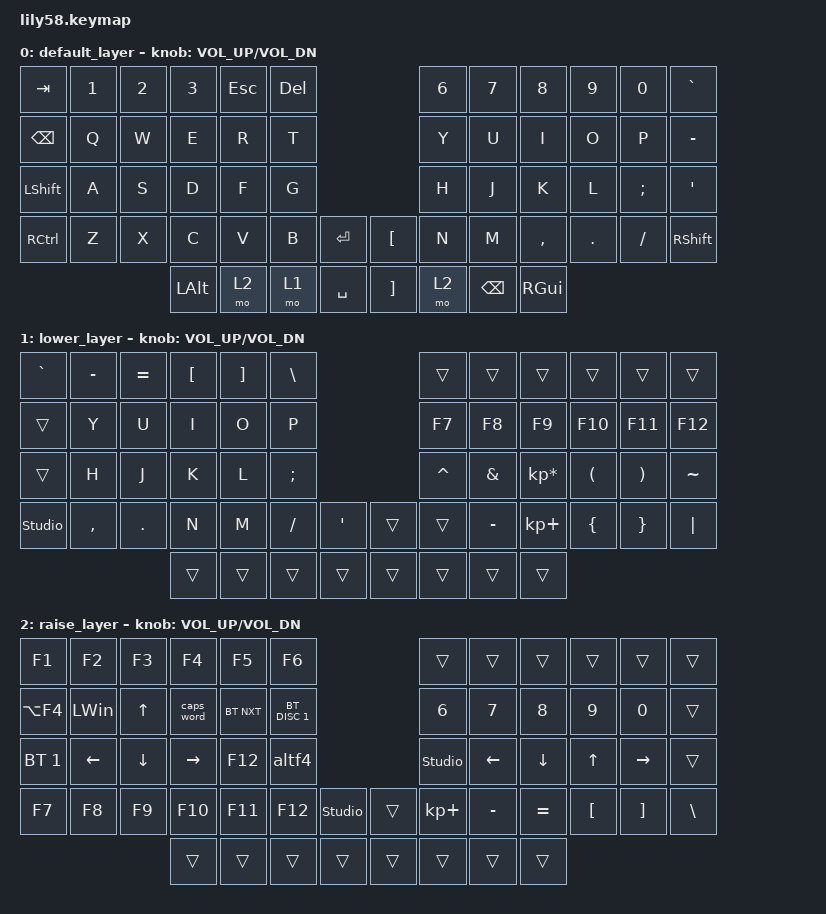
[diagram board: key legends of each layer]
/*
 * Copyright (c) 2020 The ZMK Contributors
 *
 * SPDX-License-Identifier: MIT
 */

#include <behaviors.dtsi>
#include <dt-bindings/zmk/bt.h>
#include <dt-bindings/zmk/keys.h>

/ {
    macros {
        altf4: test {
            compatible = "zmk,behavior-macro";
            #binding-cells = <0>;
            bindings = <&kp LA(F4)>;
            label = "TEST";
        };
    };

    keymap {
        compatible = "zmk,keymap";

        default_layer {
            // ------------------------------------------------------------------------------------------------------------
            // |  ESC  |  1  |  2  |  3   |  4   |  5   |                   |  6   |  7    |  8    |  9   |   0   |   `   |
            // |  TAB  |  Q  |  W  |  E   |  R   |  T   |                   |  Y   |  U    |  I    |  O   |   P   |   -   |
            // |  CTRL |  A  |  S  |  D   |  F   |  G   |                   |  H   |  J    |  K    |  L   |   ;   |   '   |
            // | SHIFT |  Z  |  X  |  C   |  V   |  B   |   "["  |  |  "]"  |  N   |  M    |  ,    |  .   |   /   | SHIFT |
            //                     | ALT  | GUI  | LOWER|  ENTER |  | SPACE | RAISE| BSPC  | GUI   |

            bindings = <
&kp TAB         &kp N1  &kp N2  &kp N3    &kp ESCAPE  &kp DEL                                  &kp N6  &kp N7    &kp N8     &kp N9   &kp N0    &kp GRAVE
&kp BACKSPACE   &kp Q   &kp W   &kp E     &kp R       &kp T                                    &kp Y   &kp U     &kp I      &kp O    &kp P     &kp MINUS
&kp LEFT_SHIFT  &kp A   &kp S   &kp D     &kp F       &kp G                                    &kp H   &kp J     &kp K      &kp L    &kp SEMI  &kp SQT
&kp RCTRL       &kp Z   &kp X   &kp C     &kp V       &kp B    &kp ENTER    &kp LEFT_BRACKET   &kp N   &kp M     &kp COMMA  &kp DOT  &kp FSLH  &kp RSHFT
                                &kp LALT  &mo 2       &mo 1    &kp SPACE    &kp RIGHT_BRACKET  &mo 2   &kp BSPC  &kp RGUI
            >;

            sensor-bindings = <&inc_dec_kp C_VOL_UP C_VOL_DN>;
        };

        lower_layer {
            // ------------------------------------------------------------------------------------------------------------
            // | BTCLR | BT1 | BT2 |  BT3 |  BT4 |  BT5 |                   |      |       |       |      |       |       |
            // |  F1   |  F2 |  F3 |  F4  |  F5  |  F6  |                   |  F7  |  F8   |  F9   |  F10 |  F11  |  F12  |
            // |   `   |  !  |  @  |  #   |  $   |  %   |                   |  ^   |  &    |  *    |  (   |   )   |   ~   |
            // |       |     |     |      |      |      |        |  |       |      |  _    |  +    |  {   |   }   |  "|"  |
            //                     |      |      |      |        |  |       |      |       |       |

            bindings = <
&kp GRAVE       &kp MINUS  &kp EQUAL   &kp LEFT_BRACKET  &kp RIGHT_BRACKET  &kp BACKSLASH                     &trans     &trans     &trans           &trans    &trans    &trans
&trans          &kp Y      &kp U       &kp I             &kp O              &kp P                             &kp F7     &kp F8     &kp F9           &kp F10   &kp F11   &kp F12
&trans          &kp H      &kp J       &kp K             &kp L              &kp SEMICOLON                     &kp CARET  &kp AMPS   &kp KP_MULTIPLY  &kp LPAR  &kp RPAR  &kp TILDE
&studio_unlock  &kp COMMA  &kp PERIOD  &kp N             &kp M              &kp SLASH      &kp SQT    &trans  &trans     &kp MINUS  &kp KP_PLUS      &kp LBRC  &kp RBRC  &kp PIPE
                                       &trans            &trans             &trans         &trans     &trans  &trans     &trans     &trans
            >;

            sensor-bindings = <&inc_dec_kp C_VOL_UP C_VOL_DN>;
        };

        raise_layer {
            // ------------------------------------------------------------------------------------------------------------
            // |       |     |     |      |      |      |                   |      |       |       |      |       |       |
            // |   `   |  1  |  2  |  3   |  4   |  5   |                   |  6   |   7   |   8   |  9   |   0   |       |
            // |   F1  |  F2 |  F3 |  F4  |  F5  |  F6  |                   |      |   <-  |   v   |  ^   |  ->   |       |
            // |   F7  |  F8 |  F9 |  F10 |  F11 |  F12 |        |  |       |  +   |   -   |   =   |  [   |   ]   |   \   |
            //                     |      |      |      |        |  |       |      |       |       |

            bindings = <
&kp F1        &kp F2          &kp F3        &kp F4           &kp F5      &kp F6                                   &trans          &trans     &trans     &trans    &trans     &trans
&kp LA(F4)    &kp LEFT_WIN    &kp UP_ARROW  &caps_word       &bt BT_NXT  &bt BT_DISC 1                            &kp N6          &kp N7     &kp N8     &kp N9    &kp N0     &trans
&bt BT_SEL 1  &kp LEFT_ARROW  &kp DOWN      &kp RIGHT_ARROW  &kp F12     &altf4                                   &studio_unlock  &kp LEFT   &kp DOWN   &kp UP    &kp RIGHT  &trans
&kp F7        &kp F8          &kp F9        &kp F10          &kp F11     &kp F12        &studio_unlock    &trans  &kp KP_PLUS     &kp MINUS  &kp EQUAL  &kp LBKT  &kp RBKT   &kp BSLH
                                            &trans           &trans      &trans         &trans            &trans  &trans          &trans     &trans
            >;

            sensor-bindings = <&inc_dec_kp C_VOL_UP C_VOL_DN>;
        };
    };
};
